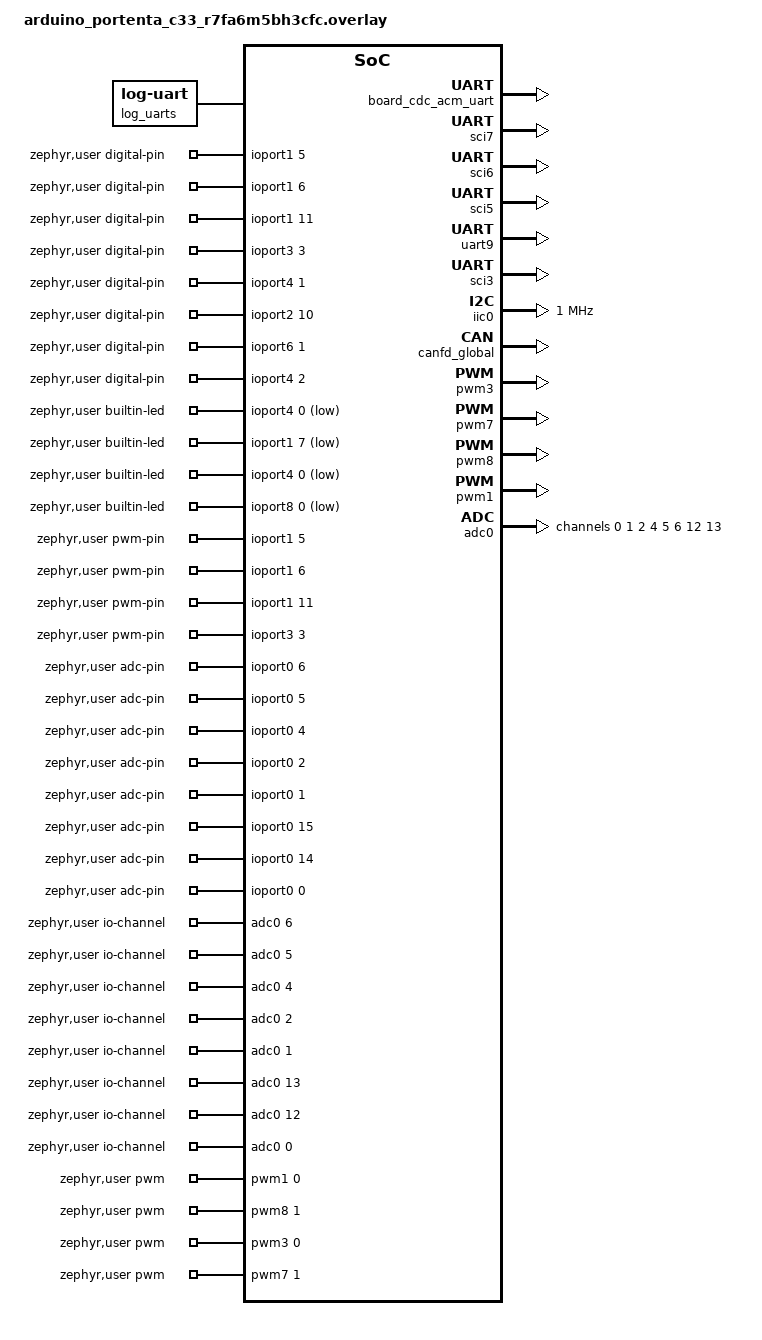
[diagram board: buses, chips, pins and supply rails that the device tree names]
/*
 * Copyright (c) Arduino s.r.l. and/or its affiliated companies
 *
 * SPDX-License-Identifier: Apache-2.0
 */

&zephyr_udc0 {
	board_cdc_acm_uart: board_cdc_acm_uart {
		compatible = "zephyr,cdc-acm-uart";
	status = "okay";
	};
};

/{
	chosen {
		zephyr,log-uart = &log_uarts;
	};

	log_uarts: log_uarts {
		compatible = "zephyr,log-uart";
		uarts = <&uart9 &board_cdc_acm_uart>;
	};
};

&flash0 {
	partitions {
		mcuboot: partition@0 {
			label = "mcuboot";
			reg = <0x00000000 DT_SIZE_K(64)>;
		};
		code_partition: partition@10000 {
			label = "image-0";
			reg = <0x00010000 (DT_SIZE_M(1) - DT_SIZE_K(64))>;
		};
		user_sketch: partition@100000 {
			label = "user_sketch";
			reg = <0x00100000 (DT_SIZE_M(1))>;
		};
	};
};

&flash1 {
    // Conflicts with "storage" partition
	/delete-node/ partitions;
};

&sci7 {
	pinctrl-0 = <&sci7_default>;
	pinctrl-names = "default";
	status = "okay";

	uart7: uart {
		zephyr,deferred-init;
		pinctrl-0 = <&sci7_default>;
		pinctrl-names = "default";
		status = "okay";
		current-speed = <115200>;
	};
};

&sci6 {
	status = "okay";
	pinctrl-0 = <&sci6_default>;
	pinctrl-names = "default";

	uart6: uart {
		zephyr,deferred-init;
		pinctrl-0 = <&sci6_default>;
		pinctrl-names = "default";
		status = "okay";
		current-speed = <115200>;
	};
};

&sci5 {
	status = "okay";
	pinctrl-0 = <&sci5_default>;
	pinctrl-names = "default";

	uart5: uart {
		zephyr,deferred-init;
		pinctrl-0 = <&sci5_default>;
		pinctrl-names = "default";
		status = "okay";
		current-speed = <115200>;
	};
};

&uart9 {
	status = "okay";
	/* usart9 is not set as deferred-init to catch early boot logs since it is assigned to zephyr,console */
};

&spi1 {
	zephyr,deferred-init;
};

&sci3 {
	status = "okay";
	i2c3: i2c {
		status = "okay";
	};
};

&iic1 {
	zephyr,deferred-init;
};

&pinctrl {
	empty_default: empty_default {
		group1 {
			psels = <>;
		};
	};

	adc0_arduino: adc0_arduino {
		group1 {
			psels = <RA_PSEL(RA_PSEL_ADC, 0, 6)>; /* A0 - AN006 */
			renesas,analog-enable;
		};
		group2 {
			psels = <RA_PSEL(RA_PSEL_ADC, 0, 5)>; /* A1 - AN005 */
			renesas,analog-enable;
		};
		group3 {
			psels = <RA_PSEL(RA_PSEL_ADC, 0, 4)>; /* A2 - AN004 */
			renesas,analog-enable;
		};
		group4 {
			psels = <RA_PSEL(RA_PSEL_ADC, 0, 2)>; /* A3 - AN002 */
			renesas,analog-enable;
		};
		group5 {
			psels = <RA_PSEL(RA_PSEL_ADC, 0, 1)>; /* A4 - AN001 */
			renesas,analog-enable;
		};
		group6 {
			psels = <RA_PSEL(RA_PSEL_ADC, 0, 15)>; /* A5 - AN013/P015 */
			renesas,analog-enable;
		};
		group7 {
			psels = <RA_PSEL(RA_PSEL_ADC, 0, 14)>; /* A6 - AN012/P014 */
			renesas,analog-enable;
		};
		group8 {
			psels = <RA_PSEL(RA_PSEL_ADC, 0, 0)>; /* A7 - AN000 */
			renesas,analog-enable;
		};
	};

	iic0_default: iic0_default {
		group1 {
			/* SCL0 SDA0 */
			psels = <RA_PSEL(RA_PSEL_I2C, 4, 8)>,
			<RA_PSEL(RA_PSEL_I2C, 4, 7)>;
			drive-strength = "medium";
		};
	};
};

&iic0 {
	status = "okay";
	zephyr,deferred-init;
	#address-cells = <1>;
	#size-cells = <0>;
	interrupts = <87 1>, <88 1>, <89 1>, <90 1>;
	interrupt-names = "rxi", "txi", "tei", "eri";
	clock-frequency = <DT_FREQ_M(1)>;
	pinctrl-0 = <&iic0_default>;
	pinctrl-names = "default";
};

&canfdclk {
	status = "okay";
};

&canfd_global {
	status = "okay";
	canfd0 {
		status = "okay";
	};
};


&pwm3 {
	status = "okay";
	zephyr,deferred-init;
	pinctrl-0 = <&empty_default>;
	pinctrl-1 = <&empty_default>;
	pinctrl-2 = <&pwm3_default>;
	pinctrl-names = "default", "sleep", "arduino";
	interrupts = <65 1>, <66 1>;
	interrupt-names = "gtioca", "overflow";
};

&pwm7 {
	status = "okay";
	zephyr,deferred-init;
	pinctrl-0 = <&empty_default>;
	pinctrl-1 = <&empty_default>;
	pinctrl-2 = <&pwm7_default>;
	pinctrl-names = "default", "sleep", "arduino";
	interrupts = <67 1>, <68 1>;
	interrupt-names = "gtioca", "overflow";
	/* GPT7 is a 16-bit timer on RA6M5 (BSP_FEATURE_GPT_32BIT_CHANNEL_MASK=0x0F).
	 * DIV_4 brings PCLKD (120MHz) down to 30MHz, giving period_cycles ~61224
	 * at 490Hz which fits in 16-bit (65535). */
	divider = <RA_PWM_SOURCE_DIV_4>;
};

&pwm8 {
	status = "okay";
	zephyr,deferred-init;
	pinctrl-0 = <&empty_default>;
	pinctrl-1 = <&empty_default>;
	pinctrl-2 = <&pwm8_default>;
	pinctrl-names = "default", "sleep", "arduino";
	interrupts = <69 1>, <70 1>;
	interrupt-names = "gtioca", "overflow";
	/* GPT8 is a 16-bit timer on RA6M5 (BSP_FEATURE_GPT_32BIT_CHANNEL_MASK=0x0F).
	 * DIV_4 brings PCLKD (120MHz) down to 30MHz, giving period_cycles ~61224
	 * at 490Hz which fits in 16-bit (65535). */
	divider = <RA_PWM_SOURCE_DIV_4>;
};

&pwm1 {
	status = "okay";
	zephyr,deferred-init;
	pinctrl-0 = <&empty_default>;
	pinctrl-1 = <&empty_default>;
	pinctrl-2 = <&pwm1_default>;
	pinctrl-names = "default", "sleep", "arduino";
	interrupts = <71 1>, <72 1>;
	interrupt-names = "gtioca", "overflow";
};

&adc0 {
	zephyr,deferred-init;
	pinctrl-0 = <&empty_default>;
	pinctrl-1 = <&empty_default>;
	pinctrl-2 = <&adc0_arduino>;
	pinctrl-names = "default", "sleep", "arduino";
	status = "okay";
	#address-cells = <1>;
	#size-cells = <0>;

	a7: channel@0 {
		reg = <0>;
		zephyr,gain = "ADC_GAIN_1";
		zephyr,reference = "ADC_REF_INTERNAL";
		zephyr,acquisition-time = <ADC_ACQ_TIME_DEFAULT>;
		zephyr,resolution = <12>;
	};

	a4: channel@1 {
		reg = <1>;
		zephyr,gain = "ADC_GAIN_1";
		zephyr,reference = "ADC_REF_INTERNAL";
		zephyr,acquisition-time = <ADC_ACQ_TIME_DEFAULT>;
		zephyr,resolution = <12>;
	};

	a3: channel@2 {
		reg = <2>;
		zephyr,gain = "ADC_GAIN_1";
		zephyr,reference = "ADC_REF_INTERNAL";
		zephyr,acquisition-time = <ADC_ACQ_TIME_DEFAULT>;
		zephyr,resolution = <12>;
	};

	a2: channel@4 {
		reg = <4>;
		zephyr,gain = "ADC_GAIN_1";
		zephyr,reference = "ADC_REF_INTERNAL";
		zephyr,acquisition-time = <ADC_ACQ_TIME_DEFAULT>;
		zephyr,resolution = <12>;
	};

	a1: channel@5 {
		reg = <5>;
		zephyr,gain = "ADC_GAIN_1";
		zephyr,reference = "ADC_REF_INTERNAL";
		zephyr,acquisition-time = <ADC_ACQ_TIME_DEFAULT>;
		zephyr,resolution = <12>;
	};

	a0: channel@6 {
		reg = <6>;
		zephyr,gain = "ADC_GAIN_1";
		zephyr,reference = "ADC_REF_INTERNAL";
		zephyr,acquisition-time = <ADC_ACQ_TIME_DEFAULT>;
		zephyr,resolution = <12>;
	};

	a6: channel@c {
		reg = <12>;
		zephyr,gain = "ADC_GAIN_1";
		zephyr,reference = "ADC_REF_INTERNAL";
		zephyr,acquisition-time = <ADC_ACQ_TIME_DEFAULT>;
		zephyr,resolution = <12>;
	};

	a5: channel@d {
		reg = <13>;
		zephyr,gain = "ADC_GAIN_1";
		zephyr,reference = "ADC_REF_INTERNAL";
		zephyr,acquisition-time = <ADC_ACQ_TIME_DEFAULT>;
		zephyr,resolution = <12>;
	};
};

/ {
	zephyr,user {
		digital-pin-gpios = <&ioport1 5 GPIO_ACTIVE_HIGH>,
				    <&ioport1 6 GPIO_ACTIVE_HIGH>,
				    <&ioport1 11 GPIO_ACTIVE_HIGH>,
				    <&ioport3 3 GPIO_ACTIVE_HIGH>,
				    <&ioport4 1 GPIO_ACTIVE_HIGH>,
				    <&ioport2 10 GPIO_ACTIVE_HIGH>,
				    <&ioport6 1 GPIO_ACTIVE_HIGH>,
				    <&ioport4 2 GPIO_ACTIVE_HIGH>,
				    <&ioport9 0 GPIO_ACTIVE_HIGH>,
				    <&ioport2 4 GPIO_ACTIVE_HIGH>,
				    <&ioport3 15 GPIO_ACTIVE_HIGH>,
				    <&ioport4 7 GPIO_ACTIVE_HIGH>,
				    <&ioport4 8 GPIO_ACTIVE_HIGH>,
				    <&ioport1 10 GPIO_ACTIVE_HIGH>,
				    <&ioport6 2 GPIO_ACTIVE_HIGH>,

				    <&ioport0 6 GPIO_ACTIVE_HIGH>,
				    <&ioport0 5 GPIO_ACTIVE_HIGH>,
				    <&ioport0 4 GPIO_ACTIVE_HIGH>,
				    <&ioport0 2 GPIO_ACTIVE_HIGH>,
				    <&ioport0 1 GPIO_ACTIVE_HIGH>,
				    <&ioport0 15 GPIO_ACTIVE_HIGH>,
				    <&ioport0 14 GPIO_ACTIVE_HIGH>,
				    <&ioport0 0 GPIO_ACTIVE_HIGH>,

				    <&ioport6 5 GPIO_ACTIVE_HIGH>,
				    <&ioport6 8 GPIO_ACTIVE_HIGH>,
				    <&ioport3 11 GPIO_ACTIVE_HIGH>,
				    <&ioport6 0 GPIO_ACTIVE_HIGH>,

				    <&ioport0 9 GPIO_ACTIVE_HIGH>,
				    <&ioport4 9 GPIO_ACTIVE_HIGH>,
				    <&ioport5 5 GPIO_ACTIVE_HIGH>,
				    <&ioport7 6 GPIO_ACTIVE_HIGH>,
				    <&ioport7 7 GPIO_ACTIVE_HIGH>,
				    <&ioport7 8 GPIO_ACTIVE_HIGH>,
				    <&ioport8 2 GPIO_ACTIVE_HIGH>,

					<&ioport1 7 GPIO_ACTIVE_HIGH>,	// LEDR
					<&ioport4 0 GPIO_ACTIVE_HIGH>,
					<&ioport8 0 GPIO_ACTIVE_HIGH>,

  					// I2C pins
  					<&ioport5 11 GPIO_ACTIVE_HIGH>, /*   D37    |     SDA1     */
  					<&ioport5 12 GPIO_ACTIVE_HIGH>, /*   D38    |     SCL1     */
  					<&ioport3 2 GPIO_ACTIVE_HIGH>, /*   D39    |     SDA2    */
  					<&ioport3 1 GPIO_ACTIVE_HIGH>, /*   D40    |     SCL2    */

  					// CAN pins
  					<&ioport2 2 GPIO_ACTIVE_HIGH>, /*   D41    |   CAN RX    */
  					<&ioport2 3 GPIO_ACTIVE_HIGH>, /*   D42    |   CAN TX    */
  					<&ioport6 10 GPIO_ACTIVE_HIGH>, /*   D43    |   CAN1 RX   */
  					<&ioport6 9 GPIO_ACTIVE_HIGH>, /*   D44    |   CAN1 TX   */

  					// SPI pins
  					<&ioport1 0 GPIO_ACTIVE_HIGH>, /*   D45    |   MISO1  */
  					<&ioport1 1 GPIO_ACTIVE_HIGH>, /*   D46    |   MOSI1  */
  					<&ioport1 2 GPIO_ACTIVE_HIGH>, /*   D47    |   SCLK1  */
  					<&ioport1 3 GPIO_ACTIVE_HIGH>, /*   D48    |   CS1    */

  					// UART pins
  					<&ioport6 13 GPIO_ACTIVE_HIGH>, /*   D49    |   TX2    */
  					<&ioport6 14 GPIO_ACTIVE_HIGH>, /*   D50    |   RX2    */
  					<&ioport6 11 GPIO_ACTIVE_HIGH>, /*   D51    |   RTS2   */
  					<&ioport4 4 GPIO_ACTIVE_HIGH>, /*   D52    |   CTS2   */
  					<&ioport5 6 GPIO_ACTIVE_HIGH>, /*   D53    |   TX3    */
  					<&ioport3 4 GPIO_ACTIVE_HIGH>, /*   D54    |   RX3    */
  					<&ioport5 3 GPIO_ACTIVE_HIGH>, /*   D55    |   RTS3   */
  					<&ioport5 2 GPIO_ACTIVE_HIGH>, /*   D56    |   CTS3   */
  					<&ioport8 5 GPIO_ACTIVE_HIGH>, /*   D57    |   TX4    */
  					<&ioport5 13 GPIO_ACTIVE_HIGH>, /*   D58    |   RX4    */
  					<&ioport5 8 GPIO_ACTIVE_HIGH>, /*   D59    |   RTS4   */
  					<&ioport5 5 GPIO_ACTIVE_HIGH>, /*   D60    |   CTS4   */
  					<&ioport6 3 GPIO_ACTIVE_HIGH>, /*   D61    |   RTS0   */
  					<&ioport6 4 GPIO_ACTIVE_HIGH>, /*   D62    |   CTS0   */

  					// SSI (Audio)
  					<&ioport1 12 GPIO_ACTIVE_HIGH>, /*   D63    |   SSI CK    */
  					<&ioport1 13 GPIO_ACTIVE_HIGH>, /*   D64    |   SSI WS    */
  					<&ioport1 14 GPIO_ACTIVE_HIGH>, /*   D65    |   SSI SDI   */
  					<&ioport1 15 GPIO_ACTIVE_HIGH>, /*   D66    |   SSI SDO   */

  					// Generic GPIO pins
  					<&ioport9 8 GPIO_ACTIVE_HIGH>, /*   D67    |          */
  					<&ioport4 3 GPIO_ACTIVE_HIGH>, /*   D68    |          */
  					<&ioport9 1 GPIO_ACTIVE_HIGH>, /*   D69    |          */
  					<&ioport6 12 GPIO_ACTIVE_HIGH>, /*   D70    |          */
  					<&ioport3 12 GPIO_ACTIVE_HIGH>, /*   D71    |          */
  					<&ioport3 13 GPIO_ACTIVE_HIGH>, /*   D72    |          */
  					<&ioport3 14 GPIO_ACTIVE_HIGH>, /*   D73    |          */
  					<&ioporta 1 GPIO_ACTIVE_HIGH>, /*   D74    |          */
  					<&ioporta 8 GPIO_ACTIVE_HIGH>, /*   D75    |          */
  					<&ioporta 9 GPIO_ACTIVE_HIGH>, /*   D76    |          */
  					<&ioporta 10 GPIO_ACTIVE_HIGH>, /*   D77    |          */
  					<&ioport5 7 GPIO_ACTIVE_HIGH>, /*   D78    |          */
  					<&ioportb 0 GPIO_ACTIVE_HIGH>, /*   D79    |          */
  					<&ioport6 15 GPIO_ACTIVE_HIGH>, /*   D80    |          */
  					<&ioport0 3 GPIO_ACTIVE_HIGH>, /*   D81    |          */
  					<&ioport0 7 GPIO_ACTIVE_HIGH>, /*   D82    |          */
  					<&ioport0 8 GPIO_ACTIVE_HIGH>, /*   D83    |          */

  					// SDCARD
  					<&ioport4 13 GPIO_ACTIVE_HIGH>, /*   D84    |   SDHI CLK  */
  					<&ioport4 12 GPIO_ACTIVE_HIGH>, /*   D85    |   SDHI CMD  */
  					<&ioport4 11 GPIO_ACTIVE_HIGH>, /*   D86    |   SDHI D0   */
  					<&ioport4 10 GPIO_ACTIVE_HIGH>, /*   D87    |   SDHI D1   */
  					<&ioport2 6 GPIO_ACTIVE_HIGH>, /*   D88    |   SDHI D2   */
  					<&ioport2 5 GPIO_ACTIVE_HIGH>, /*   D89    |   SDHI D3   */
  					<&ioport4 15 GPIO_ACTIVE_HIGH>, /*   D90    |   SDHI CD   */
  					<&ioport4 14 GPIO_ACTIVE_HIGH>, /*   D91    |   SDHI WP   */

					<&ioport0 10 GPIO_ACTIVE_HIGH>; /*  SE05X_EN |        */


		builtin-led-gpios = <&ioport4 0 GPIO_ACTIVE_LOW>,
                        <&ioport1 7 GPIO_ACTIVE_LOW>,
                        <&ioport4 0 GPIO_ACTIVE_LOW>,
                        <&ioport8 0 GPIO_ACTIVE_LOW>;

		pwm-pin-gpios =	<&ioport1 5 0>,
				    <&ioport1 6 0>,
				    <&ioport1 11 0>,
				    <&ioport3 3 0>;

		cdc-acm-serial = <&board_cdc_acm_uart>; /* 'Serial' object is managed by SerialUSB */
		serials = <&uart9>, <&uart7>, <&uart6>, <&uart5>; /* 'Serial1' onwards */
		i2cs = <&iic0>, <&iic1>, <&i2c3>;
		spis = <&spi1>;
		pwms = <&pwm1 0 PWM_HZ(490) PWM_POLARITY_NORMAL>,
		       <&pwm8 1 PWM_HZ(490) PWM_POLARITY_NORMAL>,
		       <&pwm3 0 PWM_HZ(490) PWM_POLARITY_NORMAL>,
		       <&pwm7 1 PWM_HZ(490) PWM_POLARITY_NORMAL>;
		cans = <&canfd0>;

		io-channels =	<&adc0 6>,
				<&adc0 5>,
				<&adc0 4>,
				<&adc0 2>,
				<&adc0 1>,
				<&adc0 13>,
				<&adc0 12>,
				<&adc0 0>;

		adc-pin-gpios =	<&ioport0 6 0>,
				    <&ioport0 5 0>,
				    <&ioport0 4 0>,
				    <&ioport0 2 0>,
				    <&ioport0 1 0>,
				    <&ioport0 15 0>,
				    <&ioport0 14 0>,
				    <&ioport0 0 0>;
	};
};

/* Include common flash filesystem configuration */
qspi_flash: &at25sf128a {};
#include "../common/arduino_flash_fs.dtsi"
